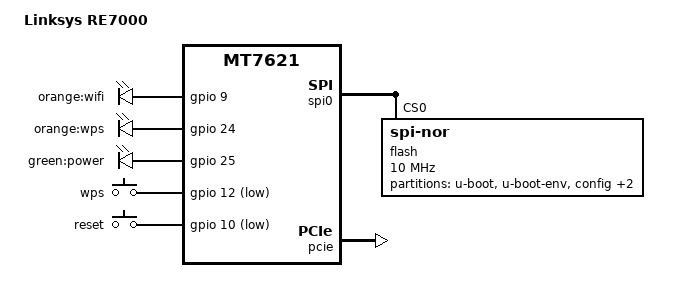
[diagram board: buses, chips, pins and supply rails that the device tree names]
// SPDX-License-Identifier: GPL-2.0-or-later OR MIT

#include "mt7621.dtsi"

#include <dt-bindings/gpio/gpio.h>
#include <dt-bindings/input/input.h>

/ {
	compatible = "linksys,re7000", "mediatek,mt7621-soc";
	model = "Linksys RE7000";

	aliases {
		led-boot = &led_power;
		led-failsafe = &led_power;
		led-running = &led_power;
		led-upgrade = &led_power;
	};

	leds {
		compatible = "gpio-leds";

		wifi {
			label = "orange:wifi";
			gpios = <&gpio 9 GPIO_ACTIVE_HIGH>;
			linux,default-trigger = "phy0tpt";
		};

		wps {
			label = "orange:wps";
			gpios = <&gpio 24 GPIO_ACTIVE_HIGH>;
		};

		led_power: power {
			label = "green:power";
			gpios = <&gpio 25 GPIO_ACTIVE_HIGH>;
		};
	};

	keys {
		compatible = "gpio-keys";

		wps {
			label = "wps";
			gpios = <&gpio 12 GPIO_ACTIVE_LOW>;
			linux,code = <KEY_WPS_BUTTON>;
		};

		reset {
			label = "reset";
			gpios = <&gpio 10 GPIO_ACTIVE_LOW>;
			linux,code = <KEY_RESTART>;
		};
	};
};

&spi0 {
	status = "okay";

	flash@0 {
		compatible = "jedec,spi-nor";
		reg = <0>;
		spi-max-frequency = <10000000>;

		partitions {
			compatible = "fixed-partitions";
			#address-cells = <1>;
			#size-cells = <1>;

			partition@0 {
				label = "u-boot";
				reg = <0x0 0x30000>;
				read-only;
			};

			partition@30000 {
				label = "u-boot-env";
				reg = <0x30000 0x1000>;
			};

			partition@32000 {
				label = "config";
				reg = <0x32000 0xe000>;
				read-only;
			};

			factory: partition@40000 {
				compatible = "nvmem-cells";
				label = "factory";
				reg = <0x40000 0x10000>;
				#address-cells = <1>;
				#size-cells = <1>;
				read-only;

				eeprom_factory_0: eeprom@0 {
					reg = <0x0 0x400>;
				};

				eeprom_factory_8000: eeprom@8000 {
					reg = <0x8000 0x4da8>;
				};

				macaddr_factory_2e: macaddr@2e {
					reg = <0x2e 0x6>;
				};
			};

			partition@50000 {
				compatible = "denx,uimage";
				label = "firmware";
				reg = <0x50000 0xfb0000>;
			};
		};
	};
};

&state_default {
	gpio {
		groups = "i2c", "uart2", "rgmii2";
		function = "gpio";
	};
};

&pcie {
	status = "okay";
};

&pcie0 {
	mt76@0,0 {
		reg = <0x0000 0 0 0 0>;
		nvmem-cells = <&eeprom_factory_0>;
		nvmem-cell-names = "eeprom";
		ieee80211-freq-limit = <2400000 2500000>;
	};
};

&pcie1 {
	mt76@0,0 {
		reg = <0x0000 0 0 0 0>;
		nvmem-cells = <&eeprom_factory_8000>;
		nvmem-cell-names = "eeprom";
		ieee80211-freq-limit = <5000000 6000000>;
	};
};

&gmac0 {
	nvmem-cells = <&macaddr_factory_2e>;
	nvmem-cell-names = "mac-address";
};

&ethernet {
	pinctrl-0 = <&mdio_pins>, <&rgmii1_pins>;
};

&switch0 {
	ports {
		port@0 {
			status = "okay";
			label = "lan";
		};
	};
};
